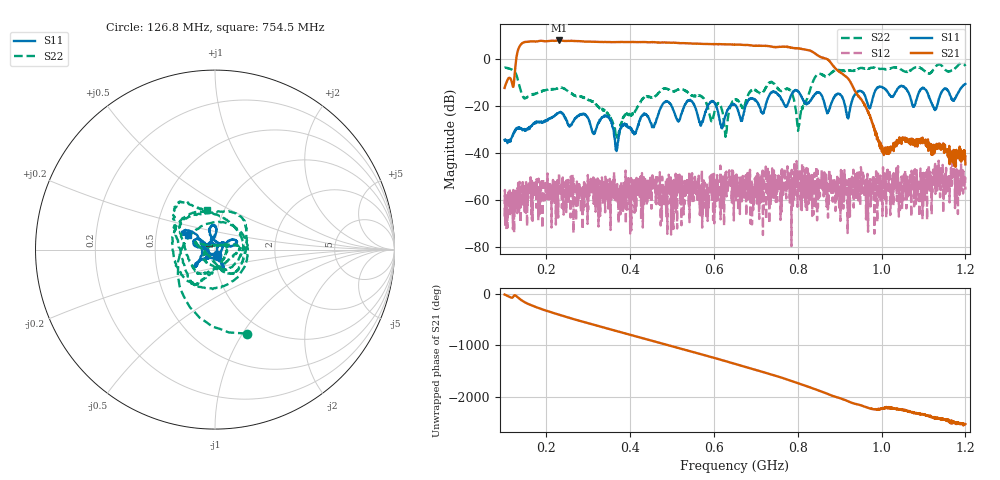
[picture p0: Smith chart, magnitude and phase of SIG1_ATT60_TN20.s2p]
# Hz S DB R 50
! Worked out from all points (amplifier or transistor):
!   1601 points, 100 MHz to 1.2 GHz, reference 50 ohm
!   highest |S21| = 8.1 dB at 229.2 MHz (marker M1)
!   |S21| within 3 dB of that: 134.3 MHz to 781.3 MHz (647 MHz wide, 141 % of centre)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
!   unconditionally stable (mu >= 1): start of sweep to end of sweep
!   at 282.9 MHz: K = 246.38, MAG = 7.9 dB, |S12| = -61.9 dB
!   at 650 MHz: K = 78.04, MAG = 6.4 dB, |S12| = -50.4 dB
!   at 1.2 GHz: K = 21960.54, MAG = -41.0 dB, |S12| = -55.5 dB
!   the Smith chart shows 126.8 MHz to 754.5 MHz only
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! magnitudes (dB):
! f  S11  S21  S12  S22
! 100 MHz  -34.3  -12.1  -66.9  -3.5
! 141.9 MHz  -29.5  6.9  -60.3  -15.1
! 229.2 MHz  -22.8  8.1  -56.8  -12.2
! 283.6 MHz  -23.4  7.7  -56.9  -15.9
! 313.1 MHz  -31.8  7.5  -51.6  -18.3
! 346.1 MHz  -24.2  7.4  -59.3  -23.0
! 369.5 MHz  -36.4  7.4  -60.9  -32.4
! 467.1 MHz  -23.2  7.2  -54.0  -14.3
! 611.5 MHz  -24.1  6.5  -54.5  -18.7
! 628 MHz  -23.8  6.4  -53.1  -32.0
! 650 MHz  -19.4  6.3  -50.4  -17.1
! 716.7 MHz  -22.9  5.8  -74.8  -13.8
! 738.7 MHz  -13.9  5.4  -46.4  -9.7
! 782.7 MHz  -15.9  5.1  -51.1  -13.4
! 801.9 MHz  -13.8  4.7  -54.5  -28.7
! 833.6 MHz  -16.5  3.4  -49.6  -10.5
! 920.9 MHz  -24.5  -8.4  -67.2  -4.7
! 944.2 MHz  -13.5  -15.7  -60.0  -4.0
! 1.017 GHz  -14.6  -40.3  -55.9  -4.1
! 1.101 GHz  -12.4  -34.7  -47.3  -4.7
! 1.127 GHz  -21.6  -38.7  -45.5  -3.6
! 1.2 GHz  -10.4  -44.7  -55.5  -2.8
